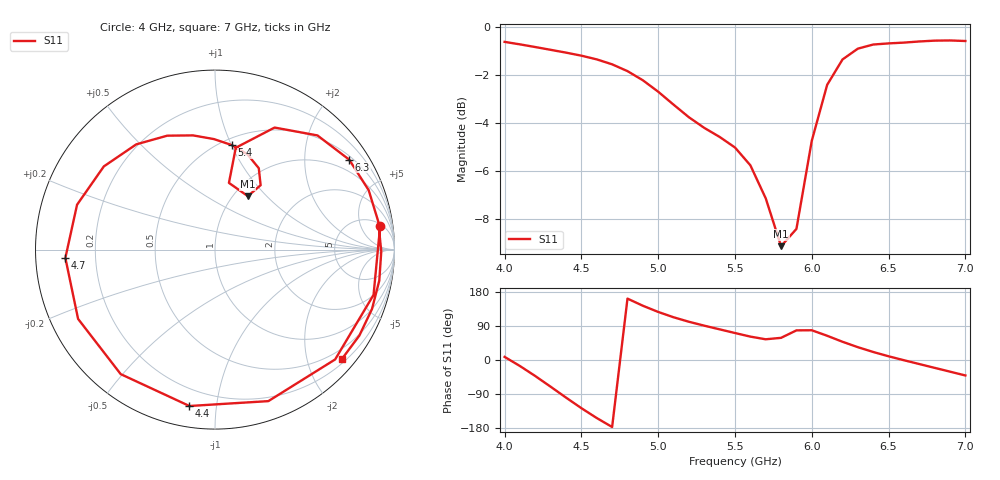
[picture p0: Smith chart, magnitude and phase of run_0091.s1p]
! Touchstone file exported from HFSS 2024.2.0
!  File:  C:/Users/wsak9/Desktop/Sim Fast/Widenad Patch/WP_AI_V1_sweep.aedt
!  Generated:  06:42:12 PM Oct 13, 2026
!  Design:  A1_model
!  Project:  WP_AI_V1_sweep
!  Setup:  Setup1
!  Solution:  Sweep
! Variables:
!  Air_gap = 2.78mm
!  Curve_Amp1 = 1.17
!  Curve_len1 = 1
!  Curve_pos = 10.665mm
!  Extra = 1.71mm
!  H_sub = 0.79mm
!  L_Patch = 17.33mm
!  L_Patch1 = 17.15mm
!  Sx = 3.01mm
!  Sy = 4.44mm
!  WS = 0.39mm
!  W_Patch = 13.4mm
!  W_Patch1 = 15.44mm
!Data is not renormalized
# GHz S MA
! Terminal data exported
! Port[1] = 1
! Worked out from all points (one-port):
!   31 points, 4 GHz to 7 GHz, reference per port
!   lowest |S11| = -9.1 dB at 5.8 GHz (marker M1), VSWR 2.07
!   |S11| at or under -10 dB: nowhere
!   S11 on the Smith chart (normalised r, x): 4 GHz: 6, +11; 4.4 GHz: 0.11, -0.84; 4.7 GHz: 0.09, -0.03; 5.4 GHz: 0.56, +1.00; 6.3 GHz: 0.60, +3.19; 7 GHz: 0.28, -2.66
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4  0.9297 8.2
4.1  0.9187 -15.9
4.2  0.9069 -42.4
4.3  0.895 -70.6
4.4  0.883 -99.3
4.5  0.8702 -127.1
4.6  0.855 -153.2
4.7  0.8349 -176.8
4.8  0.8082 162.0
4.9  0.7736 143.2
5  0.7323 126.8
5.1  0.6883 112.8
5.2  0.648 100.9
5.4  0.5898 80.9
5.5  0.5607 71.2
5.6  0.5149 61.7
5.7  0.4396 54.7
5.8  0.3496 58.5
5.9  0.3797 78.2
6  0.5793 78.5
6.1  0.7568 64.0
6.2  0.8547 48.1
6.3  0.9001 33.8
6.4  0.918 21.1
6.5  0.923 9.8
6.7  0.9315 -10.7
6.8  0.9352 -20.8
7  0.9336 -40.8
